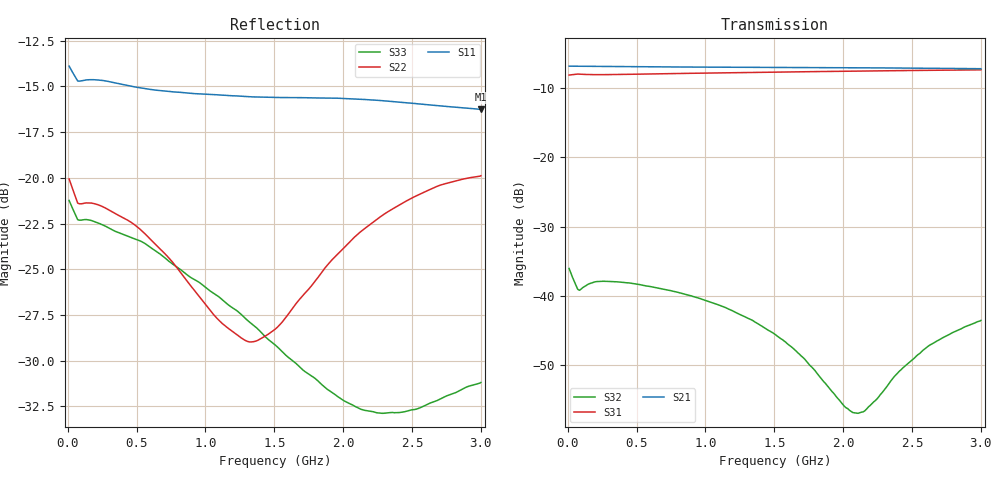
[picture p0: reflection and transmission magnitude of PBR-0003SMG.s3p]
! MARKI MICROWAVE INC.
! Email:  info@markimicrowave.com  Phone:  408-778-4200
! Model Number:  PBR0003SMG  Date:  02/14
! Filename:		PBR-0003SMG.S3P  Version: 1.0
! Description:  3-port S-parameter data for Power Divider PBR0003SMG
! Frequency Range: 	10 MHz to 3 GHz
! Port Configuration:	PORT 1: COMMON, PORT 2 and Port 3: Output
! S3P File: Measurements: Mag<S11> Ang<S11> Mag<S12> Ang<S12> Mag<S13> Ang<S13>! row 1
!  Mag<S21> Ang<S21> Mag<S22> Ang<S22> Mag<S23> Ang<S23>! row 2
!  Mag<S31> Ang<S31> Mag<S32> Ang<S32> Mag<S33> Ang<S33>! row 3
# Hz S  dB  R 50
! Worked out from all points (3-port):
!   241 points, 10 MHz to 3 GHz, reference 50 ohm
!   strongest paths, dB at 10 MHz, 759.2 MHz, 1.508 GHz, 2.258 GHz, 3 GHz:
!     S21: -6.9, -7.0, -7.0, -7.1, -7.2
!     S31: -8.2, -7.9, -7.7, -7.6, -7.4
!     S32: -36.1, -39.3, -45.6, -54.6, -43.5
!   lowest |S11| = -16.3 dB at 3 GHz (marker M1), VSWR 1.36, Z = 66.6 + j6.96 ohm
!   |S11| at or under -10 dB: start of sweep to end of sweep
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1e7  -13.89 166.7  -6.88 -2.6  -8.17 1.6
     -6.88 -2.8  -20.06 158.8  -35.95 -38.8
     -8.16 2.8  -36.06 -38.5  -21.23 162.9
8.4925e7  -14.71 172.8  -6.90 -7.6  -8.03 -5.6
          -6.90 -7.6  -21.42 169.5  -39.19 -13.4
          -8.03 -5.8  -39.20 -13.8  -22.31 169.7
2.722375e8  -14.69 162.7  -6.93 -23.8  -8.10 -19.3
            -6.93 -23.8  -21.64 156.2  -37.93 -27.6
            -8.10 -19.3  -37.90 -27.8  -22.64 154.6
8.216875e8  -15.32 132.8  -7.00 -70.9  -7.93 -58.7
            -7.00 -70.9  -25.20 119.3  -39.58 -91.7
            -7.93 -58.8  -39.60 -91.7  -25.03 112.6
1.283725e9  -15.54 109.3  -7.03 -110.5  -7.79 -92.6
            -7.03 -110.5  -28.87 116.5  -42.97 -145.6
            -7.79 -92.6  -42.99 -145.7  -27.64 83.5
1.5085e9  -15.60 97.6  -7.05 -129.8  -7.73 -109.1
          -7.05 -129.8  -28.26 124.9  -45.59 -173.3
          -7.73 -109.1  -45.60 -173.6  -29.15 73.5
2.020488e9  -15.66 70.5  -7.10 -173.8  -7.61 -147.0
            -7.10 -173.8  -23.71 109.7  -56.26 81.7
            -7.61 -147.0  -56.14 81.9  -32.25 60.4
2.1079e9  -15.69 65.8  -7.11 178.7  -7.59 -153.5
          -7.11 178.7  -23.07 103.8  -56.87 44.7
          -7.59 -153.5  -56.94 44.6  -32.59 59.5
2.619888e9  -16.01 38.9  -7.18 134.7  -7.48 168.3
            -7.18 134.7  -20.67 60.0  -47.27 -74.7
            -7.48 168.3  -47.22 -75.2  -32.36 50.8
3e9  -16.25 19.4  -7.24 101.3  -7.41 139.3
     -7.24 101.4  -19.88 21.7  -43.50 -120.6
     -7.41 139.3  -43.54 -120.7  -31.19 33.9
